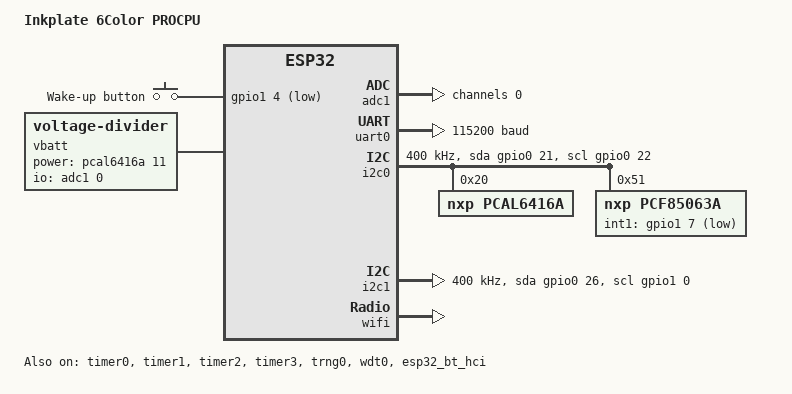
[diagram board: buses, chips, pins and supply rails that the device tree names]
/*
 * Copyright (c) 2025 Fabian Blatz <fabianblatz@gmail.com>
 *
 * SPDX-License-Identifier: Apache-2.0
 */
/dts-v1/;

#include <espressif/esp32/esp32_wrover_e_n4r8.dtsi>
#include "inkplate_6color-pinctrl.dtsi"
#include <espressif/partitions_0x1000_amp.dtsi>
#include <zephyr/dt-bindings/input/input-event-codes.h>

/ {
	model = "Inkplate 6Color PROCPU";
	compatible = "solderedelectronics,inkplate-6color";

	chosen {
		zephyr,sram = &sram1;
		zephyr,console = &uart0;
		zephyr,shell-uart = &uart0;
		zephyr,flash = &flash0;
		zephyr,code-partition = &slot0_partition;
		zephyr,bt-hci = &esp32_bt_hci;
	};

	aliases {
		watchdog0 = &wdt0;
		i2c-0 = &i2c0;
		sw0 = &wakeup_button;
		rtc = &pcf85063a;
	};

	gpio_keys {
		compatible = "gpio-keys";

		wakeup_button: button_1 {
			label = "Wake-up button";
			gpios = <&gpio1 4 (GPIO_ACTIVE_LOW)>;
			zephyr,code = <INPUT_KEY_WAKEUP>;
		};
	};


	vbatt: vbatt0 {
		status = "okay";
		compatible = "voltage-divider";
		io-channels = <&adc1 0>;
		output-ohms = <100000>;
		full-ohms = <(100000 + 100000)>;
		power-gpios = <&pcal6416a 11 (GPIO_ACTIVE_HIGH)>;
	};

};

&adc1 {
	status = "okay";

	#address-cells = <1>;
	#size-cells = <0>;

	channel@0 {
		reg = <0>;
		zephyr,gain = "ADC_GAIN_1_4";
		zephyr,reference = "ADC_REF_INTERNAL";
		zephyr,acquisition-time = <ADC_ACQ_TIME_DEFAULT>;
		zephyr,resolution = <12>;
	};
};

&uart0 {
	status = "okay";
	current-speed = <115200>;
	pinctrl-0 = <&uart0_default>;
	pinctrl-names = "default";
};

&i2c0 {
	status = "okay";
	clock-frequency = <I2C_BITRATE_FAST>;
	pinctrl-0 = <&i2c0_default>;
	pinctrl-names = "default";
	sda-gpios = <&gpio0 21 GPIO_OPEN_DRAIN>;
	scl-gpios = <&gpio0 22 GPIO_OPEN_DRAIN>;

	pcal6416a: pcal6416a@20 {
		compatible = "nxp,pcal6416a";
		reg = <0x20>;
		gpio-controller;
		#gpio-cells = <2>;
		ngpios = <16>;
	};

	pcf85063a: pcf85063a@51 {
		status = "okay";
		compatible = "nxp,pcf85063a";
		reg = <0x51>;
		int1-gpios = <&gpio1 7 (GPIO_PULL_UP | GPIO_ACTIVE_LOW)>;
	};
};

&i2c1 {
	status = "okay";
	clock-frequency = <I2C_BITRATE_FAST>;
	pinctrl-0 = <&i2c1_default>;
	pinctrl-names = "default";
	sda-gpios = <&gpio0 26 GPIO_OPEN_DRAIN>;
	scl-gpios = <&gpio1 0 GPIO_OPEN_DRAIN>;
};

&timer0 {
	status = "okay";
};

&timer1 {
	status = "okay";
};

&timer2 {
	status = "okay";
};

&timer3 {
	status = "okay";
};

&trng0 {
	status = "okay";
};

&spi2 {
	#address-cells = <1>;
	#size-cells = <0>;
	pinctrl-0 = <&spim2_default>;
	pinctrl-names = "default";
};

&spi3 {
	#address-cells = <1>;
	#size-cells = <0>;
	pinctrl-0 = <&spim3_default>;
	pinctrl-names = "default";
};

&gpio0 {
	status = "okay";
};

&gpio1 {
	status = "okay";
};

&wdt0 {
	status = "okay";
};

&esp32_bt_hci {
	status = "okay";
};

&wifi {
	status = "okay";
};
